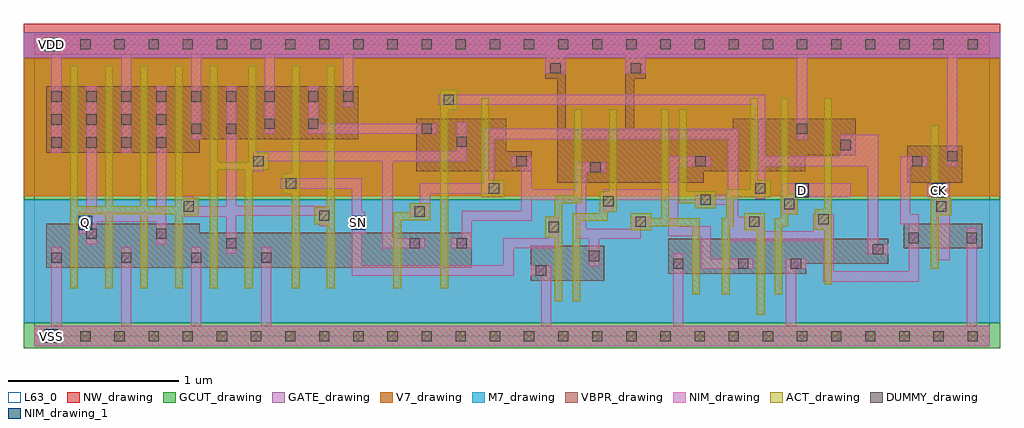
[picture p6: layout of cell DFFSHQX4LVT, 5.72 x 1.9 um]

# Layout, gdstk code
import gdstk
lib = gdstk.Library(unit=1e-6, precision=5e-10)
def R(c, l, rs):  # rectangles x0, y0, x1, y1
    for r in rs: c.add(gdstk.rectangle(r[:2], r[2:], *l))
def A(c, l, x, y, w, h, nx, ny, dx, dy):  # array of equal rectangles
    R(c, l, [(x+i*dx, y+j*dy, x+i*dx+w, y+j*dy+h) for i in range(nx) for j in range(ny)])
def P(c, l, *ps):  # polygons
    for p in ps: c.add(gdstk.Polygon(p, *l))
VBPR_drawing = (1, 0)
NW_drawing = (2, 0)
ACT_drawing = (3, 0)
GATE_drawing = (4, 0)
GCUT_drawing = (5, 0)
DUMMY_drawing = (6, 0)
NIM_drawing = (7, 0)
NIM_drawing_1 = (7, 1)
M7_drawing = (26, 0)
V7_drawing = (27, 0)
L63_0 = (63, 0)

dffshqx4lvt = lib.new_cell('DFFSHQX4LVT')
R(dffshqx4lvt, VBPR_drawing, [(0,-0.06,5.6,0.06), (2.91,0.325,3.34,0.53), (5.095,0.515,5.555,0.66), (5.115,0.9,5.44,1.115), (0,1.65,5.6,1.77)])
P(dffshqx4lvt, VBPR_drawing, [(4.815,1.275),(4.095,1.275),(4.095,1.21),(3.515,1.21),(3.515,1.51),(3.585,1.51),(3.585,1.65),(3.465,1.65),(3.465,1.21),(3.115,1.21),(3.115,1.65),(2.995,1.65),(2.995,1.51),(3.065,1.51),(3.065,0.9),(3.925,0.9),(3.925,0.965),(4.52,0.965),(4.52,1.06),(4.815,1.06)],
  [(0.07,1.465),(1.9,1.465),(1.9,1.155),(0.97,1.155),(0.97,1.075),(0.07,1.075)],
  [(2.24,1.275),(2.765,1.275),(2.765,1.085),(2.915,1.085),(2.915,0.965),(2.24,0.965)],
  [(0.07,0.66),(0.97,0.66),(0.97,0.605),(2.565,0.605),(2.565,0.4),(0.07,0.4)],
  [(3.715,0.57),(5.005,0.57),(5.005,0.425),(4.525,0.425),(4.525,0.365),(3.715,0.365)])
R(dffshqx4lvt, NW_drawing, [(-0.06,0.82,5.66,1.83)])
P(dffshqx4lvt, ACT_drawing, [(0.21,1.585),(0.255,1.585),(0.255,0.76),(0.415,0.76),(0.415,1.585),(0.46,1.585),(0.46,0.76),(0.62,0.76),(0.62,1.585),(0.665,1.585),(0.665,0.76),(0.825,0.76),(0.825,1.585),(0.87,1.585),(0.87,0.81),(0.965,0.81),(0.965,0.71),(0.87,0.71),(0.87,0.28),(0.825,0.28),(0.825,0.715),(0.665,0.715),(0.665,0.28),(0.62,0.28),(0.62,0.715),(0.46,0.715),(0.46,0.28),(0.415,0.28),(0.415,0.715),(0.255,0.715),(0.255,0.28),(0.21,0.28)],
  [(1.03,1.585),(1.075,1.585),(1.075,1.02),(1.255,1.02),(1.255,1.585),(1.3,1.585),(1.3,1.075),(1.375,1.075),(1.375,0.975),(1.28,0.975),(1.28,0.28),(1.235,0.28),(1.235,0.975),(1.075,0.975),(1.075,0.28),(1.03,0.28)],
  [(1.51,1.585),(1.555,1.585),(1.555,0.28),(1.51,0.28),(1.51,0.835),(1.455,0.835),(1.455,0.955),(1.51,0.955)],
  [(1.715,1.585),(1.76,1.585),(1.76,0.28),(1.715,0.28),(1.715,0.655),(1.64,0.655),(1.64,0.755),(1.715,0.755)],
  [(2.38,1.445),(2.48,1.445),(2.48,1.325),(2.425,1.325),(2.425,0.28),(2.38,0.28)],
  [(2.62,1.395),(2.665,1.395),(2.665,0.915),(2.755,0.915),(2.755,0.815),(2.62,0.815)],
  [(3.165,1.33),(3.21,1.33),(3.21,0.78),(3.095,0.78),(3.095,0.205),(3.05,0.205),(3.05,0.58),(2.995,0.58),(2.995,0.7),(3.05,0.7),(3.05,0.825),(3.165,0.825)],
  [(3.37,1.33),(3.415,1.33),(3.415,0.73),(3.36,0.73),(3.36,0.675),(3.2,0.675),(3.2,0.205),(3.155,0.205),(3.155,0.72),(3.315,0.72),(3.315,0.85),(3.37,0.85)],
  [(3.495,0.72),(3.615,0.72),(3.615,0.69),(3.675,0.69),(3.675,1.33),(3.72,1.33),(3.72,0.69),(3.9,0.69),(3.9,0.245),(3.855,0.245),(3.855,0.645),(3.615,0.645),(3.615,0.62),(3.495,0.62)],
  [(3.78,1.33),(3.825,1.33),(3.825,0.85),(3.995,0.85),(3.995,0.75),(3.875,0.75),(3.875,0.78),(3.78,0.78)],
  [(4.195,1.395),(4.24,1.395),(4.24,0.915),(4.315,0.915),(4.315,0.815),(4.1,0.815),(4.1,0.645),(4.075,0.645),(4.075,0.245),(4.03,0.245),(4.03,0.69),(4.055,0.69),(4.055,0.86),(4.195,0.86)],
  [(4.375,1.395),(4.42,1.395),(4.42,0.835),(4.475,0.835),(4.475,0.715),(4.42,0.715),(4.42,0.645),(4.385,0.645),(4.385,0.245),(4.34,0.245),(4.34,0.69),(4.375,0.69)],
  [(4.63,1.395),(4.675,1.395),(4.675,0.305),(4.63,0.305),(4.63,0.625),(4.575,0.625),(4.575,0.745),(4.63,0.745)],
  [(5.255,1.235),(5.3,1.235),(5.3,0.81),(5.375,0.81),(5.375,0.71),(5.3,0.71),(5.3,0.395),(5.255,0.395)],
  [(2.2,0.78),(2.32,0.78),(2.32,0.68),(2.15,0.68),(2.15,0.28),(2.105,0.28),(2.105,0.725),(2.2,0.725)],
  [(4.16,0.72),(4.28,0.72),(4.28,0.125),(4.235,0.125),(4.235,0.62),(4.16,0.62)])
R(dffshqx4lvt, GATE_drawing, [(-0.06,0.08,5.66,0.8), (-0.06,1.63,5.66,1.78)])
R(dffshqx4lvt, GCUT_drawing, [(-0.06,-0.07,5.66,0.08), (-0.06,0.8,5.66,1.63)])
A(dffshqx4lvt, DUMMY_drawing, 0.07, -0.03, 0.06, 0.06, 28, 2, 0.2, 1.71)
A(dffshqx4lvt, DUMMY_drawing, 0.1, 0.43, 0.06, 0.06, 4, 1, 0.41, 0)
A(dffshqx4lvt, DUMMY_drawing, 0.1, 1.105, 0.06, 0.06, 4, 2, 0.205, 0.135)
A(dffshqx4lvt, DUMMY_drawing, 0.1, 1.375, 0.06, 0.06, 6, 1, 0.205, 0)
R(dffshqx4lvt, DUMMY_drawing, [(2.94,0.355,3,0.415), (3.745,0.395,3.805,0.455), (4.125,0.395,4.185,0.455), (4.435,0.395,4.495,0.455), (3.25,0.44,3.31,0.5), (4.915,0.48,4.975,0.54), (1.125,0.515,1.185,0.575), (2.2,0.515,2.26,0.575), (2.475,0.515,2.535,0.575), (5.125,0.545,5.185,0.605), (5.465,0.545,5.525,0.605), (0.305,0.57,0.365,0.63), (0.715,0.57,0.775,0.63), (3.015,0.61,3.075,0.67), (3.525,0.64,3.585,0.7), (4.19,0.64,4.25,0.7), (4.595,0.655,4.655,0.715), (1.67,0.675,1.73,0.735), (2.23,0.7,2.29,0.76), (0.875,0.73,0.935,0.79), (5.285,0.73,5.345,0.79), (4.395,0.745,4.455,0.805), (3.335,0.76,3.395,0.82), (3.905,0.77,3.965,0.83), (2.665,0.835,2.725,0.895), (4.225,0.835,4.285,0.895), (1.475,0.865,1.535,0.925), (3.26,0.96,3.32,1.02), (1.285,0.995,1.345,1.055), (2.825,0.995,2.885,1.055), (3.875,0.995,3.935,1.055), (5.145,0.995,5.205,1.055), (5.35,1.025,5.41,1.085), (4.725,1.09,4.785,1.15), (2.475,1.11,2.535,1.17), (0.92,1.185,0.98,1.245), (1.125,1.185,1.185,1.245), (2.27,1.185,2.33,1.245), (4.47,1.185,4.53,1.245), (1.35,1.215,1.41,1.275), (1.605,1.215,1.665,1.275), (2.4,1.355,2.46,1.415), (1.35,1.375,1.41,1.435), (1.605,1.375,1.665,1.435), (1.81,1.375,1.87,1.435), (3.025,1.54,3.085,1.6), (3.495,1.54,3.555,1.6)])
A(dffshqx4lvt, NIM_drawing, 0.1, 0.06, 0.06, 0.46, 4, 1, 0.41, 0)
R(dffshqx4lvt, NIM_drawing, [(3.745,0.06,3.805,0.485), (5.465,0.06,5.525,0.635), (5.35,0.995,5.41,1.65), (0.1,1.075,0.16,1.65), (0.51,1.075,0.57,1.65), (0.92,1.155,0.98,1.65), (4.47,1.155,4.53,1.65), (1.35,1.185,1.41,1.65), (1.81,1.345,1.87,1.65), (2.995,1.54,3.115,1.65), (3.465,1.54,3.585,1.65)])
P(dffshqx4lvt, NIM_drawing, [(3.03,0.415),(2.91,0.415),(2.91,0.355),(2.97,0.355),(2.97,0.06),(3.03,0.06)],
  [(4.525,0.455),(4.405,0.455),(4.405,0.06),(4.465,0.06),(4.465,0.395),(4.525,0.395)],
  [(0.305,1.465),(0.365,1.465),(0.365,0.73),(0.715,0.73),(0.715,1.465),(0.775,1.465),(0.775,0.54),(0.715,0.54),(0.715,0.67),(0.365,0.67),(0.365,0.54),(0.305,0.54),(0.305,0.6),(0.26,0.6),(0.26,0.73),(0.305,0.73)],
  [(0.875,0.82),(0.935,0.82),(0.935,0.76),(1.125,0.76),(1.125,1.465),(1.185,1.465),(1.185,0.765),(1.73,0.765),(1.73,0.645),(1.67,0.645),(1.67,0.705),(1.185,0.705),(1.185,0.485),(1.125,0.485),(1.125,0.7),(0.875,0.7)],
  [(1.605,1.465),(1.665,1.465),(1.665,1.245),(2.36,1.245),(2.36,1.185),(1.605,1.185)],
  [(2.37,1.415),(4.285,1.415),(4.285,1.055),(4.725,1.055),(4.725,1.18),(4.945,1.18),(4.945,0.54),(5.005,0.54),(5.005,0.48),(4.885,0.48),(4.885,0.995),(4.285,0.995),(4.285,0.805),(4.225,0.805),(4.225,1.355),(2.37,1.355)],
  [(2.475,1.255),(2.535,1.255),(2.535,1.025),(2.1,1.025),(2.1,0.575),(2.29,0.575),(2.29,0.515),(2.04,0.515),(2.04,1.025),(1.345,1.025),(1.345,0.965),(1.285,0.965),(1.285,1.085),(2.475,1.085)],
  [(2.635,1.215),(4.125,1.215),(4.125,0.7),(4.28,0.7),(4.28,0.615),(4.565,0.615),(4.565,0.715),(4.685,0.715),(4.685,0.38),(5.125,0.38),(5.125,0.655),(5.075,0.655),(5.075,1.055),(5.235,1.055),(5.235,0.995),(5.135,0.995),(5.135,0.715),(5.185,0.715),(5.185,0.32),(4.625,0.32),(4.625,0.555),(4.065,0.555),(4.065,0.77),(3.875,0.77),(3.875,0.83),(4.065,0.83),(4.065,1.155),(2.695,1.155),(2.695,0.895),(2.755,0.895),(2.755,0.835),(2.32,0.835),(2.32,0.7),(2.2,0.7),(2.2,0.76),(2.26,0.76),(2.26,0.895),(2.635,0.895)],
  [(1.445,0.925),(1.92,0.925),(1.92,0.73),(1.94,0.73),(1.94,0.6),(1.92,0.6),(1.92,0.415),(2.75,0.415),(2.75,0.575),(3.015,0.575),(3.015,0.7),(3.075,0.7),(3.075,0.515),(2.81,0.515),(2.81,0.355),(1.86,0.355),(1.86,0.865),(1.445,0.865)],
  [(2.795,1.055),(2.915,1.055),(2.915,0.86),(3.175,0.86),(3.175,1.02),(3.35,1.02),(3.35,0.96),(3.235,0.96),(3.235,0.63),(3.495,0.63),(3.495,0.7),(3.615,0.7),(3.615,0.64),(3.555,0.64),(3.555,0.57),(3.31,0.57),(3.31,0.41),(3.25,0.41),(3.25,0.57),(3.175,0.57),(3.175,0.8),(2.915,0.8),(2.915,0.675),(2.565,0.675),(2.565,0.515),(2.445,0.515),(2.445,0.575),(2.505,0.575),(2.505,0.735),(2.855,0.735),(2.855,0.995),(2.795,0.995)],
  [(3.715,1.055),(3.965,1.055),(3.965,0.995),(3.775,0.995),(3.775,0.645),(3.965,0.645),(3.965,0.455),(4.215,0.455),(4.215,0.395),(3.905,0.395),(3.905,0.585),(3.715,0.585),(3.715,0.8),(3.395,0.8),(3.395,0.73),(3.335,0.73),(3.335,0.86),(3.715,0.86)],
  [(4.385,0.895),(4.785,0.895),(4.785,0.815),(4.465,0.815),(4.465,0.715),(4.385,0.715)],
  [(5.235,0.895),(5.365,0.895),(5.365,0.445),(5.285,0.445),(5.285,0.815),(5.235,0.815)])
R(dffshqx4lvt, NIM_drawing_1, [(0.06,-0.04,0.14,0.04), (0.26,0.625,0.34,0.705), (1.86,0.625,1.94,0.705), (4.46,0.815,4.54,0.895), (5.26,0.815,5.34,0.895), (0.06,1.67,0.14,1.75)])
R(dffshqx4lvt, M7_drawing, [(-0.06,0.08,5.66,0.8)])
R(dffshqx4lvt, V7_drawing, [(-0.06,0.82,5.66,1.63)])
R(dffshqx4lvt, L63_0, [(0,0,5.6,1.71)])
dffshqx4lvt.add(gdstk.FlexPath([(0,0),(5.6,0)], 0.12, ends="flush", simple_path=True, layer=7, datatype=0))  # NIM_drawing
dffshqx4lvt.add(gdstk.FlexPath([(0,1.71),(5.6,1.71)], 0.12, ends="flush", simple_path=True, layer=7, datatype=0))  # NIM_drawing
dffshqx4lvt.add(gdstk.Label('CK', (5.3,0.855), layer=7, texttype=1))
dffshqx4lvt.add(gdstk.Label('D', (4.5,0.855), layer=7, texttype=1))
dffshqx4lvt.add(gdstk.Label('SN', (1.9,0.665), layer=7, texttype=1))
dffshqx4lvt.add(gdstk.Label('Q', (0.3,0.665), layer=7, texttype=1))
dffshqx4lvt.add(gdstk.Label('VDD', (0.1,1.71), layer=7, texttype=1))
dffshqx4lvt.add(gdstk.Label('VSS', (0.1,0), layer=7, texttype=1))
dffshqx4lvt.add(gdstk.Label('VSS', (0.1,0), layer=7, texttype=1))
dffshqx4lvt.add(gdstk.Label('VDD', (0.1,1.71), layer=7, texttype=1))
dffshqx4lvt.add(gdstk.Label('Q', (0.3,0.665), layer=7, texttype=1))
dffshqx4lvt.add(gdstk.Label('SN', (1.9,0.665), layer=7, texttype=1))
dffshqx4lvt.add(gdstk.Label('D', (4.5,0.855), layer=7, texttype=1))
dffshqx4lvt.add(gdstk.Label('CK', (5.3,0.855), layer=7, texttype=1))
dffshqx4lvt.add(gdstk.Label('DFFSHQX4', (0,0), layer=63, texttype=0))

lib.write_gds('DFFSHQX4LVT.gds')
